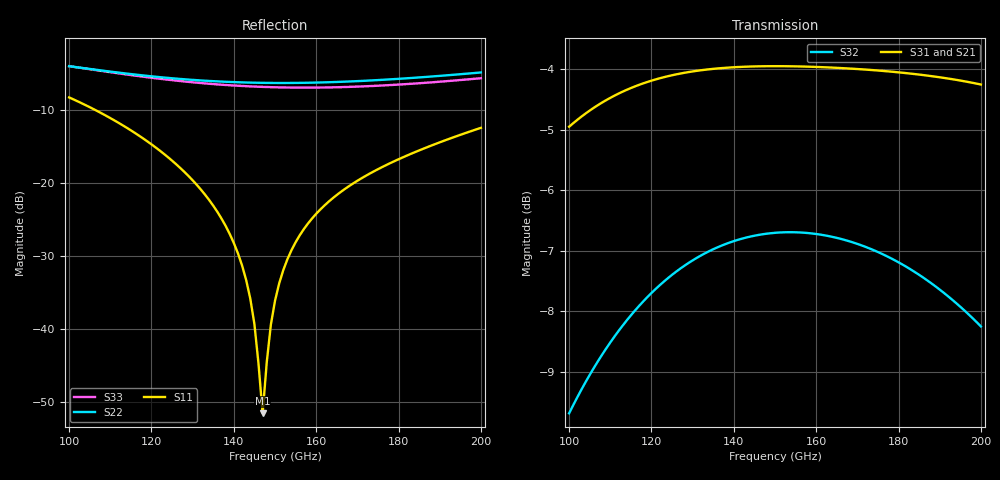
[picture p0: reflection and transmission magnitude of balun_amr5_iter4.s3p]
! Created with skrf 2.2.0 (http://scikit-rf.org).
# GHz S DB R 50.0
! Port[1] = P1
! Port[2] = P2
! Port[3] = P3
!freq dBS11 angS11 dBS12 angS12 dBS13 angS13
! dBS21 angS21 dBS22 angS22 dBS23 angS23
! dBS31 angS31 dBS32 angS32 dBS33 angS33
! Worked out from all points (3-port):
!   101 points, 100 GHz to 200 GHz, reference 50 ohm
!   strongest paths, dB at 100 GHz, 125 GHz, 150 GHz, 175 GHz, 200 GHz:
!     S31: -5.0, -4.1, -4.0, -4.0, -4.3
!     S21: -4.7, -4.0, -4.0, -4.2, -4.6
!     S32: -9.7, -7.4, -6.7, -7.0, -8.2
!   lowest |S11| = -51.6 dB at 147 GHz (marker M1), VSWR 1.01, Z = 50.3 - j0.0638 ohm
!   |S11| at or under -10 dB: 106.5 GHz to end of sweep
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100  -8.22 129.5  -4.71 -10.5  -4.95 165.9
     -4.71 -10.5  -3.93 60.1  -9.69 90.9
     -4.95 165.9  -9.69 90.9  -3.94 50.4
123  -15.96 98.8  -4.01 -45.1  -4.13 129.3
     -4.01 -45.1  -5.49 40.0  -7.51 56.9
     -4.13 129.3  -7.51 56.9  -5.72 27.3
137  -24.83 83.9  -3.93 -64.0  -3.98 109.4
     -3.93 -64.0  -6.05 29.8  -6.92 38.1
     -3.98 109.4  -6.92 38.1  -6.47 15.9
144  -35.83 71.9  -3.94 -72.9  -3.96 99.9
     -3.94 -72.9  -6.19 24.8  -6.77 29.1
     -3.96 99.9  -6.77 29.1  -6.71 10.5
147  -51.56 -13.9  -3.95 -76.7  -3.95 95.9
     -3.95 -76.7  -6.22 22.7  -6.73 25.4
     -3.95 95.9  -6.73 25.4  -6.78 8.3
148  -44.53 -75.0  -3.95 -77.9  -3.95 94.6
     -3.95 -77.9  -6.23 22.0  -6.72 24.1
     -3.95 94.6  -6.72 24.1  -6.79 7.5
150  -36.12 -93.0  -3.96 -80.4  -3.95 92.0
     -3.96 -80.4  -6.24 20.6  -6.70 21.7
     -3.95 92.0  -6.70 21.7  -6.83 6.0
155  -28.09 -101.8  -3.99 -86.5  -3.95 85.5
     -3.99 -86.5  -6.23 16.9  -6.70 15.5
     -3.95 85.5  -6.70 15.5  -6.87 2.3
164  -22.06 -108.4  -4.06 -97.4  -3.98 74.1
     -4.06 -97.4  -6.12 10.2  -6.77 4.7
     -3.98 74.1  -6.77 4.7  -6.84 -4.5
200  -12.39 -129.5  -4.62 -140.7  -4.25 28.6
     -4.62 -140.7  -4.80 -20.6  -8.25 -37.6
     -4.25 28.6  -8.25 -37.6  -5.59 -34.6
